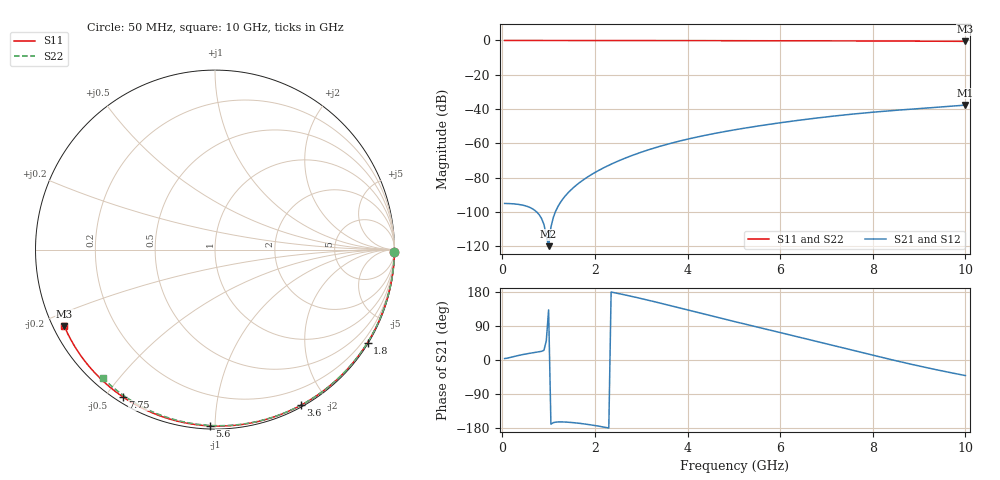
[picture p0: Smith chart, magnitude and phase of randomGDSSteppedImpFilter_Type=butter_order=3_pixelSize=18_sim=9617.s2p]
! freq	dB(S11)	phase(S11)	dB(S12)	phase(S12)
!  dB(S21)	phase(S21)	dB(S22)	phase(S22)
!S-par simulation data
#  GHz  S  DB  R 50
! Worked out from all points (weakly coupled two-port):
!   200 points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, 50 MHz to 10 GHz, reference 50 ohm
!   highest |S21| = -37.65 dB at 10 GHz (marker M1); lowest = -119.9 dB at 1 GHz (marker M2)
!   lowest |S11| = -0.5 dB at 10 GHz (marker M3), VSWR 33.35, Z = 1.59 - j12 ohm
!   |S11| at or under -10 dB: nowhere
!   |S22| runs from -0.4 to 0.0 dB; largest |S21 - S12| = 0
!   S11 on the Smith chart (normalised r, x): 50 MHz: open; 1.8 GHz: 0.03, -3.56; 3.6 GHz: 0.02, -1.69; 5.6 GHz: 0.02, -0.97; 7.75 GHz: 0.02, -0.55; 10 GHz: 0.03, -0.24
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0.05  -0.00 -0.9  -94.96 3.9  -94.96 3.9  -0.00 -0.8
0.5  -0.01 -8.9  -96.35 15.7  -96.35 15.7  -0.01 -7.6
1  -0.02 -17.6  -119.85 132.1  -119.85 132.1  -0.02 -15.1
1.75  -0.04 -30.5  -81.21 -168.4  -81.21 -168.4  -0.03 -26.1
1.8  -0.04 -31.4  -80.29 -169.2  -80.29 -169.2  -0.03 -26.9
1.85  -0.04 -32.2  -79.40 -170.1  -79.40 -170.1  -0.04 -27.6
2  -0.04 -34.8  -76.94 -172.9  -76.94 -172.9  -0.04 -29.8
2.2  -0.05 -38.1  -74.04 -177.2  -74.04 -177.2  -0.04 -32.7
2.55  -0.06 -44.0  -69.70 174.4  -69.70 174.4  -0.05 -37.8
2.95  -0.07 -50.6  -65.57 163.6  -65.57 163.6  -0.06 -43.5
3.4  -0.08 -57.9  -61.70 150.4  -61.70 150.4  -0.07 -49.8
3.6  -0.08 -61.1  -60.20 144.4  -60.20 144.4  -0.07 -52.6
4.3  -0.10 -72.1  -55.72 123.0  -55.72 123.0  -0.09 -62.1
5.05  -0.13 -83.5  -51.90 100.4  -51.90 100.4  -0.11 -72.1
5.6  -0.15 -91.7  -49.53 84.1  -49.53 84.1  -0.13 -79.2
6.15  -0.18 -99.7  -47.41 68.0  -47.41 68.0  -0.15 -86.1
6.7  -0.21 -107.5  -45.49 51.7  -45.49 51.7  -0.18 -92.9
7.2  -0.24 -114.5  -43.93 36.7  -43.93 36.7  -0.21 -98.9
7.75  -0.28 -122.1  -42.42 20.1  -42.42 20.1  -0.24 -105.4
8.35  -0.34 -130.3  -41.01 2.4  -41.01 2.4  -0.29 -112.4
9.2  -0.42 -141.9  -39.30 -21.2  -39.30 -21.2  -0.36 -122.2
10  -0.52 -153.1  -37.65 -41.1  -37.65 -41.1  -0.45 -131.2
